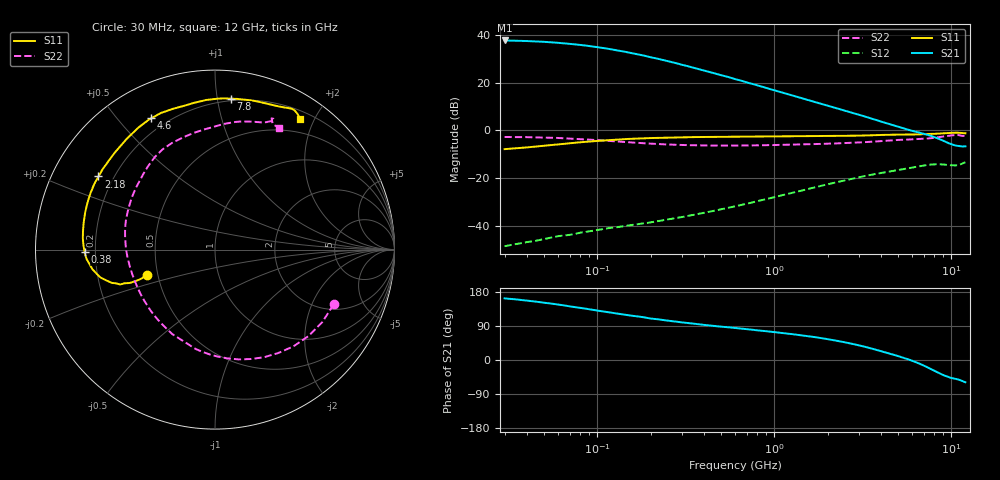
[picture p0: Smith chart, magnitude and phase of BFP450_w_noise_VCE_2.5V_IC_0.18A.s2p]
! Infineon Technologies  Discrete & RF Semiconductors
! BFP450
! VCE =  2.5 V,  IC = 0.18 A
! Common Emitter S-Parameters:  Nov 2015
# GHz  S  MA  R  50
!  f  S11  S21  S12  S22
! GHz  MAG  ANG  MAG  ANG  MAG  ANG  MAG  ANG
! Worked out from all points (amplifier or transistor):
!   239 points, 30 MHz to 12 GHz, reference 50 ohm
!   highest |S21| = 37.8 dB at 30 MHz (marker M1)
!   |S21| within 3 dB of that: start of sweep to 104.5 MHz
!   unconditionally stable (mu >= 1): 655.2 MHz to end of sweep
!   at 300 MHz: K = 0.83, MSG = 32.0 dB, |S12| = -36.4 dB
!   at 1.88 GHz: K = 1.11, MAG = 15.0 dB, |S12| = -23.1 dB
!   at 12 GHz: K = 1.08, MAG = 1.6 dB, |S12| = -13.4 dB
!   lowest NFmin = 2.85 dB at 450 MHz
!   S11 on the Smith chart (normalised r, x): 30 MHz: 0.44, -0.15; 380 MHz: 0.16, -0.01; 2.18 GHz: 0.14, +0.28; 4.6 GHz: 0.14, +0.62; 7.8 GHz: 0.19, +1.09; 12 GHz: 0.31, +1.81
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0.03  0.404 -159.7  77.53 162.6  0.0037 83.8  0.728 -24.8
0.04  0.4392 -158.5  75.41 156.9  0.0045 78.1  0.7217 -34.0
0.05  0.4778 -158.4  72.65 151.2  0.0052 73.1  0.7093 -42.8
0.06  0.509 -158.6  69.29 146.5  0.006 70.7  0.6942 -50.9
0.07  0.5391 -159.6  65.86 141.5  0.0064 67.7  0.6756 -58.5
0.085  0.5723 -160.5  60.91 135.9  0.0073 65.0  0.6494 -68.6
0.105  0.609 -162.6  54.73 129.0  0.0083 62.7  0.6176 -80.5
0.13  0.6413 -165.1  47.98 122.2  0.0093 61.0  0.585 -92.8
0.15  0.6625 -167.0  43.4 117.8  0.0101 60.4  0.564 -101.0
0.2  0.6909 -170.8  34.45 109.5  0.0117 60.2  0.5276 -116.8
0.24  0.7028 -173.1  29.61 105.0  0.0131 60.9  0.5091 -125.8
0.3  0.7177 -175.9  23.98 99.3  0.0151 62.1  0.4942 -136.6
0.38  0.7263 -178.9  19.14 94.0  0.0178 63.5  0.4843 -146.3
0.45  0.7319 178.8  16.11 90.2  0.0202 64.4  0.481 -152.9
0.6  0.7392 175.0  11.97 84.3  0.0254 65.4  0.4809 -162.7
1  0.7478 167.1  6.949 73.7  0.0396 64.5  0.493 -178.1
1.64  0.7606 156.5  4.097 61.4  0.0618 58.8  0.5144 166.6
2.18  0.7668 147.9  3.014 51.9  0.0794 52.6  0.5312 156.2
4.5  0.8129 116.8  1.338 16.6  0.1374 25.4  0.6156 122.9
4.6  0.8135 115.8  1.307 15.4  0.1394 24.3  0.6182 121.8
7.8  0.8457 84.0  0.749 -25.6  0.1925 -10.4  0.6921 88.4
12  0.8687 56.8  0.463 -58.8  0.2142 -40.1  0.7689 62.2
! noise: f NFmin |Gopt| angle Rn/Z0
0.45  2.85  0.72  -171  0.08
0.9  2.9  0.74  -165  0.1
1.9  3.01  0.75  -148  0.27
2.4  3.09  0.74  -138  0.42
